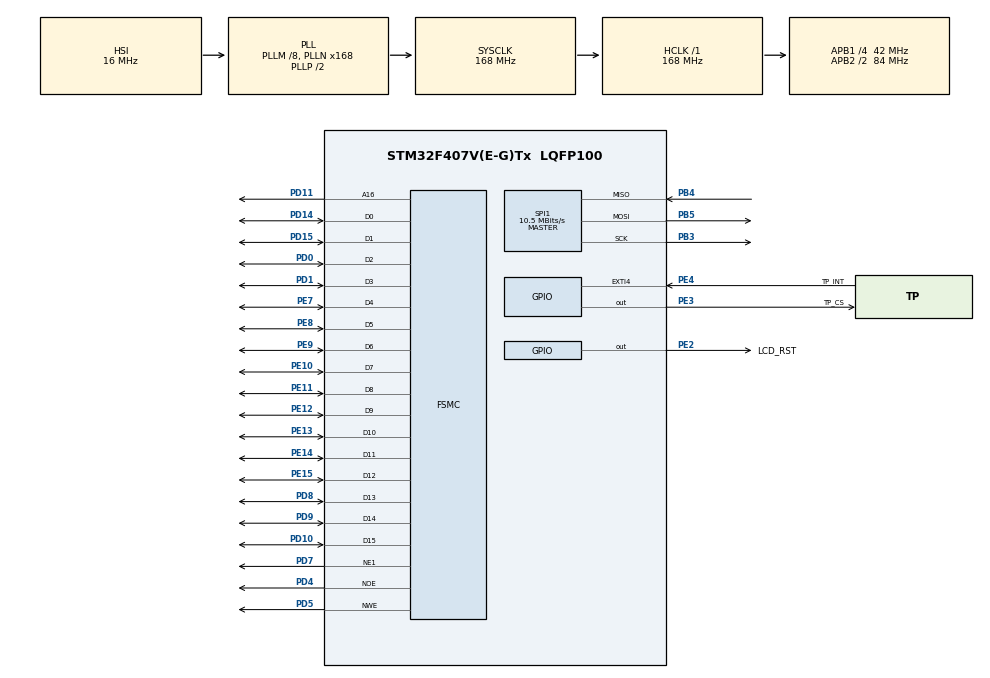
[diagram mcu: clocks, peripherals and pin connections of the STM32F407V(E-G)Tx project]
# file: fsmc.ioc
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Mcu.Family=STM32F4
Mcu.Name=STM32F407V(E-G)Tx
Mcu.Package=LQFP100
NVIC.PriorityGroup=NVIC_PRIORITYGROUP_4
PA13.Mode=Serial_Wire
PA13.Signal=SYS_JTMS-SWDIO
PA14.Mode=Serial_Wire
PA14.Signal=SYS_JTCK-SWCLK
PB3.Mode=Full_Duplex_Master
PB3.Signal=SPI1_SCK
PB4.Mode=Full_Duplex_Master
PB4.Signal=SPI1_MISO
PB5.Mode=Full_Duplex_Master
PB5.Signal=SPI1_MOSI
PD0.Mode=16b-d1
PD0.Signal=FSMC_D2
PD1.Mode=16b-d1
PD1.Signal=FSMC_D3
PD10.Mode=16b-d1
PD10.Signal=FSMC_D15
PD11.Mode=A16_1
PD11.Signal=FSMC_A16
PD14.Mode=16b-d1
PD14.Signal=FSMC_D0
PD15.Mode=16b-d1
PD15.Signal=FSMC_D1
PD4.Mode=Lcd1
PD4.Signal=FSMC_NOE
PD5.Mode=Lcd1
PD5.Signal=FSMC_NWE
PD7.Mode=NorPsramChipSelect1_1
PD7.Signal=FSMC_NE1
PD8.Mode=16b-d1
PD8.Signal=FSMC_D13
PD9.Mode=16b-d1
PD9.Signal=FSMC_D14
PE10.Mode=16b-d1
PE10.Signal=FSMC_D7
PE11.Mode=16b-d1
PE11.Signal=FSMC_D8
PE12.Mode=16b-d1
PE12.Signal=FSMC_D9
PE13.Mode=16b-d1
PE13.Signal=FSMC_D10
PE14.Mode=16b-d1
PE14.Signal=FSMC_D11
PE15.Mode=16b-d1
PE15.Signal=FSMC_D12
PE2.GPIO_Label=LCD_RST
PE2.Signal=GPIO_Output
PE3.GPIO_Label=TP_CS
PE3.GPIO_Speed=GPIO_SPEED_FREQ_VERY_HIGH
PE3.Signal=GPIO_Output
PE4.GPIO_Label=TP_INT
PE4.GPIO_ModeDefaultEXTI=GPIO_MODE_IT_FALLING
PE4.Signal=GPXTI4
PE7.Mode=16b-d1
PE7.Signal=FSMC_D4
PE8.Mode=16b-d1
PE8.Signal=FSMC_D5
PE9.Mode=16b-d1
PE9.Signal=FSMC_D6
ProjectManager.HeapSize=0x200
ProjectManager.StackSize=0x400
ProjectManager.TargetToolchain=MDK-ARM V5.27
RCC.48MHZClocksFreq_Value=84000000
RCC.AHBFreq_Value=168000000
RCC.APB1CLKDivider=RCC_HCLK_DIV4
RCC.APB1Freq_Value=42000000
RCC.APB1TimFreq_Value=84000000
RCC.APB2CLKDivider=RCC_HCLK_DIV2
RCC.APB2Freq_Value=84000000
RCC.APB2TimFreq_Value=168000000
RCC.CortexFreq_Value=168000000
RCC.HCLKFreq_Value=168000000
RCC.HSE_VALUE=25000000
RCC.HSI_VALUE=16000000
RCC.LSE_VALUE=32768
RCC.PLLM=8
RCC.PLLN=168
RCC.SYSCLKFreq_VALUE=168000000
RCC.SYSCLKSource=RCC_SYSCLKSOURCE_PLLCLK
RCC.VCOOutputFreq_Value=336000000
SPI1.BaudRatePrescaler=SPI_BAUDRATEPRESCALER_8
SPI1.CalculateBaudRate=10.5 MBits/s
SPI1.Direction=SPI_DIRECTION_2LINES
SPI1.Mode=SPI_MODE_MASTER
SPI1.VirtualType=VM_MASTER
board=custom

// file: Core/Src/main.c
/* USER CODE BEGIN Header */
/**
  ******************************************************************************
  * @file           : main.c
  * @brief          : Main program body
  ******************************************************************************
  * @attention
  *
  * <h2><center>&copy; Copyright (c) 2021 STMicroelectronics.
  * All rights reserved.</center></h2>
  *
  * This software component is licensed by ST under BSD 3-Clause license,
  * the "License"; You may not use this file except in compliance with the
  * License. You may obtain a copy of the License at:
  *                        opensource.org/licenses/BSD-3-Clause
  *
  ******************************************************************************
  */
/* USER CODE END Header */
#include "main.h"
#include "spi.h"
#include "gpio.h"
#include "fsmc.h"

void SystemClock_Config(void);

/* USER CODE BEGIN 0 */
void STM3210E_LCD_Init(void);
void GLCD_clear (unsigned short color);
void GLCD_displayStringLn(unsigned int ln, unsigned char *s,unsigned short BackColor,unsigned short TextColor);
/* USER CODE END 0 */

int main(void)
{

  /* MCU Configuration--------------------------------------------------------*/

  /* Reset of all peripherals, Initializes the Flash interface and the Systick. */
  HAL_Init();

  /* Configure the system clock */
  SystemClock_Config();

  /* Initialize all configured peripherals */
  MX_GPIO_Init();
  MX_SPI1_Init();
  MX_FSMC_Init();
  /* USER CODE BEGIN 2 */
	HAL_GPIO_WritePin(LCD_RST_GPIO_Port,LCD_RST_Pin,0);
	HAL_Delay(100);
	HAL_GPIO_WritePin(LCD_RST_GPIO_Port,LCD_RST_Pin,1);
	HAL_Delay(100);

	STM3210E_LCD_Init();

  /* USER CODE END 2 */

  /* Infinite loop */
  while (1)
  {

    /* USER CODE BEGIN 3 */
			GLCD_clear(0xf800);
		  HAL_Delay(1000);
			GLCD_clear(0x7e0);
		  HAL_Delay(1000);
			GLCD_clear(0x1f);
		  HAL_Delay(1000);
  }
  /* USER CODE END 3 */
}

void SystemClock_Config(void)
{
  RCC_OscInitTypeDef RCC_OscInitStruct = {0};
  RCC_ClkInitTypeDef RCC_ClkInitStruct = {0};

  /** Configure the main internal regulator output voltage
  */
  __HAL_RCC_PWR_CLK_ENABLE();
  __HAL_PWR_VOLTAGESCALING_CONFIG(PWR_REGULATOR_VOLTAGE_SCALE1);
  /** Initializes the RCC Oscillators according to the specified parameters
  * in the RCC_OscInitTypeDef structure.
  */
  RCC_OscInitStruct.OscillatorType = RCC_OSCILLATORTYPE_HSI;
  RCC_OscInitStruct.HSIState = RCC_HSI_ON;
  RCC_OscInitStruct.HSICalibrationValue = RCC_HSICALIBRATION_DEFAULT;
  RCC_OscInitStruct.PLL.PLLState = RCC_PLL_ON;
  RCC_OscInitStruct.PLL.PLLSource = RCC_PLLSOURCE_HSI;
  RCC_OscInitStruct.PLL.PLLM = 8;
  RCC_OscInitStruct.PLL.PLLN = 168;
  RCC_OscInitStruct.PLL.PLLP = RCC_PLLP_DIV2;
  RCC_OscInitStruct.PLL.PLLQ = 4;
  if (HAL_RCC_OscConfig(&RCC_OscInitStruct) != HAL_OK)
  {
    Error_Handler();
  }
  /** Initializes the CPU, AHB and APB buses clocks
  */
  RCC_ClkInitStruct.ClockType = RCC_CLOCKTYPE_HCLK|RCC_CLOCKTYPE_SYSCLK
                              |RCC_CLOCKTYPE_PCLK1|RCC_CLOCKTYPE_PCLK2;
  RCC_ClkInitStruct.SYSCLKSource = RCC_SYSCLKSOURCE_PLLCLK;
  RCC_ClkInitStruct.AHBCLKDivider = RCC_SYSCLK_DIV1;
  RCC_ClkInitStruct.APB1CLKDivider = RCC_HCLK_DIV4;
  RCC_ClkInitStruct.APB2CLKDivider = RCC_HCLK_DIV2;

  if (HAL_RCC_ClockConfig(&RCC_ClkInitStruct, FLASH_LATENCY_5) != HAL_OK)
  {
    Error_Handler();
  }
}

/* USER CODE BEGIN 4 */

#define U16 uint16_t
#define U32 uint32_t

#define WIDTH       320                 /* Screen Width (in pixels)           */
#define HEIGHT      240                 /* Screen Hight (in pixels)           */

U16 driverCode;

#define LCD_DATA_ADDRESS    *(volatile U16*) ((volatile U32)0x60020000)
#define LCD_REG_ADDRESS     *(volatile U16*) ((volatile U32)0x60000000)

static void LcdWriteReg(U16 Data) {
  LCD_REG_ADDRESS = Data;
}

static void LcdWriteData(U16 Data) {
  LCD_DATA_ADDRESS = Data;
}

void wr_reg (U16 reg, U16 dat) {
  LcdWriteReg(reg);
  LcdWriteData(dat);
}

U16 rd_reg (U16 reg) {
  LcdWriteReg(reg);
	HAL_Delay(1);
  return LCD_DATA_ADDRESS;
}

/*******************************************************************************
* Clear display                                                                *
*   Parameter:    color:  color for clearing display                           *
*   Return:                                                                    *
*******************************************************************************/

void GLCD_clear (unsigned short color) {
  unsigned int   i;

  wr_reg(0x20, 0);
  wr_reg(0x21, 0);
  LcdWriteReg(0x22);
  for(i = 0; i < (WIDTH*HEIGHT); i++)
  {
  	LcdWriteData(color);
  }
}

void STM3210E_LCD_Init(void)
{
	driverCode = rd_reg(0);

	wr_reg(0x0001, 0x0100);
	//wr_reg(0x0001, 0x0000);
	wr_reg(0x0002, 0x0700);
	wr_reg(0x0003, 0x1030);
	//wr_reg(0x0003, 0x0030); BGR
	wr_reg(0x0004, 0x0000);
	wr_reg(0x0008, 0x0202);
	wr_reg(0x0009, 0x0000);
	wr_reg(0x000A, 0x0000);
	wr_reg(0x000C, 0x0000);
	wr_reg(0x000D, 0x0000);
	wr_reg(0x000F, 0x0000);
//*************Power On sequence ****************//
	wr_reg(0x0010, 0x0000);
	wr_reg(0x0011, 0x0007);
	wr_reg(0x0012, 0x0000);
	wr_reg(0x0013, 0x0000);
	wr_reg(0x0007, 0x0001);
	HAL_Delay(20);
	wr_reg(0x0010, 0x1690);
	wr_reg(0x0011, 0x0227);
	HAL_Delay(20);
	wr_reg(0x0012, 0x001A);
	HAL_Delay(20);
	wr_reg(0x0013, 0x1400);
	wr_reg(0x0029, 0x0024);
	wr_reg(0x002B, 0x000C);
	HAL_Delay(20);
	wr_reg(0x0020, 0x0000);
	wr_reg(0x0021, 0x0000);
// ----------- Adjust the Gamma Curve ----------//
	wr_reg(0x0030, 0x0000);
	wr_reg(0x0031, 0x0707);
	wr_reg(0x0032, 0x0307);
	wr_reg(0x0035, 0x0200);
	wr_reg(0x0036, 0x0008);
	wr_reg(0x0037, 0x0004);
	wr_reg(0x0038, 0x0000);
	wr_reg(0x0039, 0x0707);
	wr_reg(0x003C, 0x0002);
	wr_reg(0x003D, 0x1D04);
//------------------ Set GRAM area ---------------//
	wr_reg(0x0050, 0x0000);
	wr_reg(0x0051, 0x00EF);
	wr_reg(0x0052, 0x0000);
	wr_reg(0x0053, 0x013F);
	wr_reg(0x0060, 0xA700);
	wr_reg(0x0061, 0x0001);//general TFT
	//wr_reg(0x0061, 0x0000);//IPS TFT
	wr_reg(0x006A, 0x0000);
//-------------- Partial Display Control ---------//
	wr_reg(0x0080, 0x0000);
	wr_reg(0x0081, 0x0000);
	wr_reg(0x0082, 0x0000);
	wr_reg(0x0083, 0x0000);
	wr_reg(0x0084, 0x0000);
	wr_reg(0x0085, 0x0000);
//-------------- Panel Control -------------------//
	wr_reg(0x0090, 0x0010);
	wr_reg(0x0092, 0x0600);
	wr_reg(0x0007, 0x0133); // ߪǴДʾ
	HAL_Delay(20);
}
/* USER CODE END 4 */

void Error_Handler(void)
{
  __disable_irq();
  while (1)
  {
  }
}

/************************ (C) COPYRIGHT STMicroelectronics *****END OF FILE****/
